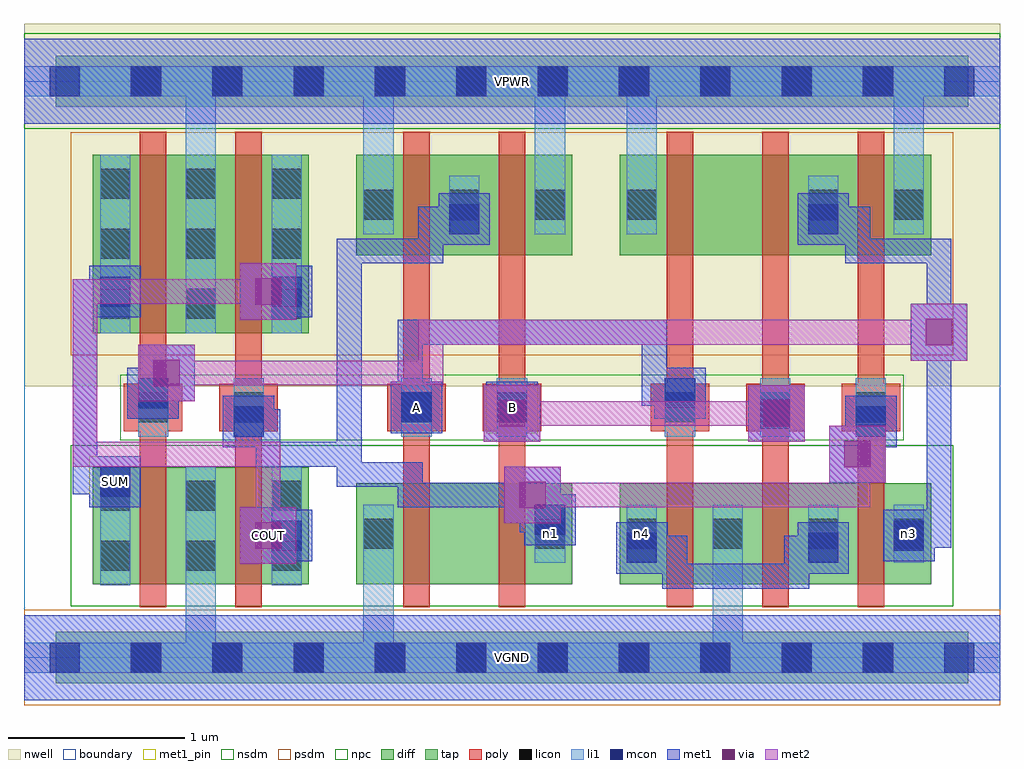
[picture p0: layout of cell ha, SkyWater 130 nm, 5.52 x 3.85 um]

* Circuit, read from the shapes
.subckt ha A B COUT SUM VGND VPWR n1 n3 n4
XM1 VGND n3 SUM VGND sky130_fd_pr__nfet_01v8 w=0.66 l=0.15
XM2 COUT n1 VGND VGND sky130_fd_pr__nfet_01v8 w=0.66 l=0.15
XM3 n2 A VGND VGND sky130_fd_pr__nfet_01v8 w=0.57 l=0.15
XM4 n1 B n2 VGND sky130_fd_pr__nfet_01v8 w=0.57 l=0.15
XM5 VGND A n4 VGND sky130_fd_pr__nfet_01v8 w=0.57 l=0.15
XM6 n4 B VGND VGND sky130_fd_pr__nfet_01v8 w=0.57 l=0.15
XM7 n3 n1 n4 VGND sky130_fd_pr__nfet_01v8 w=0.57 l=0.15
XM8 VPWR n3 SUM VPWR sky130_fd_pr__pfet_01v8 w=1.01 l=0.15
XM9 COUT n1 VPWR VPWR sky130_fd_pr__pfet_01v8 w=1.01 l=0.15
XM10 n1 A VPWR VPWR sky130_fd_pr__pfet_01v8 w=0.57 l=0.15
XM11 VPWR B n1 VPWR sky130_fd_pr__pfet_01v8 w=0.57 l=0.15
XM12 n5 A VPWR VPWR sky130_fd_pr__pfet_01v8 w=0.57 l=0.15
XM13 n3 B n5 VPWR sky130_fd_pr__pfet_01v8 w=0.57 l=0.15
XM14 VPWR n1 n3 VPWR sky130_fd_pr__pfet_01v8 w=0.57 l=0.15
.ends

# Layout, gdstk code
import gdstk
lib = gdstk.Library(unit=1e-6, precision=1e-09)
def R(c, l, rs):  # rectangles x0, y0, x1, y1
    for r in rs: c.add(gdstk.rectangle(r[:2], r[2:], *l))
def A(c, l, x, y, w, h, nx, ny, dx, dy):  # array of equal rectangles
    R(c, l, [(x+i*dx, y+j*dy, x+i*dx+w, y+j*dy+h) for i in range(nx) for j in range(ny)])
nwell = (64, 20)
diff = (65, 20)
tap = (65, 44)
poly = (66, 20)
licon = (66, 44)
li1 = (67, 20)
mcon = (67, 44)
met1_pin = (68, 16)
met1 = (68, 20)
via = (68, 44)
met2 = (69, 20)
nsdm = (93, 44)
psdm = (94, 20)
npc = (95, 20)
boundary = (235, 4)

c_ha = lib.new_cell('ha')
R(c_ha, nwell, [(0,1.535,5.52,3.585)])
R(c_ha, diff, [(0.39,0.415,1.61,1.075), (1.88,0.415,3.1,0.985), (3.37,0.415,5.13,0.985), (0.39,1.835,1.61,2.845), (1.88,2.275,3.1,2.845), (3.37,2.275,5.13,2.845)])
R(c_ha, tap, [(0.18,-0.145,5.34,0.145), (0.18,3.115,5.34,3.405)])
A(c_ha, poly, 3.635, 0.285, 0.15, 2.69, 3, 1, 0.54, 0)
A(c_ha, poly, 3.545, 1.28, 0.33, 0.27, 3, 1, 0.54, 0)
R(c_ha, poly, [(0.655,0.285,0.805,2.975), (1.195,0.285,1.345,2.975), (2.145,0.285,2.295,2.975), (2.685,0.285,2.835,2.975), (0.565,1.28,0.895,1.55), (1.105,1.28,1.435,1.55), (2.055,1.28,2.385,1.55), (2.595,1.28,2.925,1.55)])
A(c_ha, licon, 0.605, -0.085, 0.17, 0.17, 10, 2, 0.46, 3.26)
A(c_ha, licon, 0.43, 0.49, 0.17, 0.17, 3, 2, 0.485, 0.34)
A(c_ha, licon, 3.625, 1.33, 0.17, 0.17, 3, 1, 0.54, 0)
A(c_ha, licon, 0.43, 1.915, 0.17, 0.17, 3, 3, 0.485, 0.34)
A(c_ha, licon, 1.92, 2.475, 0.17, 0.17, 3, 1, 0.485, 0)
R(c_ha, licon, [(1.92,0.615,2.09,0.785), (2.89,0.615,3.06,0.785), (3.41,0.615,3.58,0.785), (3.895,0.615,4.065,0.785), (4.435,0.615,4.605,0.785), (4.92,0.615,5.09,0.785), (0.645,1.33,0.815,1.5), (1.185,1.33,1.355,1.5), (2.135,1.33,2.305,1.5), (2.675,1.33,2.845,1.5), (3.41,2.475,3.58,2.645), (4.435,2.475,4.605,2.645), (4.92,2.475,5.09,2.645)])
A(c_ha, li1, 0.43, 0.41, 0.17, 0.67, 3, 1, 0.485, 0)
A(c_ha, li1, 3.625, 1.25, 0.17, 0.33, 3, 1, 0.54, 0)
A(c_ha, li1, 0.43, 1.835, 0.17, 1.01, 3, 1, 0.485, 0)
A(c_ha, li1, 1.92, 2.395, 0.17, 0.33, 3, 1, 0.485, 0)
R(c_ha, li1, [(0,-0.085,5.52,0.085), (0.915,-0.085,1.085,1.08), (1.92,-0.085,2.09,0.865), (3.895,-0.085,4.065,0.865), (1.92,0.535,2.09,0.865), (2.89,0.535,3.06,0.865), (3.41,0.535,3.58,0.865), (3.895,0.535,4.065,0.865), (4.435,0.535,4.605,0.865), (4.92,0.535,5.09,0.865), (0.645,1.25,0.815,1.58), (1.185,1.25,1.355,1.58), (2.135,1.25,2.305,1.58), (2.675,1.25,2.845,1.58), (0.915,1.835,1.085,3.345), (1.92,2.395,2.09,3.345), (2.89,2.395,3.06,3.345), (3.41,2.395,3.58,2.725), (3.41,2.395,3.58,3.345), (4.435,2.395,4.605,2.725), (4.92,2.395,5.09,2.725), (4.92,2.395,5.09,3.345), (0,3.175,5.52,3.345)])
A(c_ha, mcon, 0.145, -0.085, 0.17, 0.17, 12, 2, 0.46, 3.26)
R(c_ha, mcon, [(3.41,0.535,3.58,0.705), (4.435,0.535,4.605,0.705), (1.4,0.605,1.57,0.775), (4.92,0.605,5.09,0.775), (2.89,0.695,3.06,0.865), (0.43,0.91,0.6,1.08), (1.185,1.25,1.355,1.42), (4.705,1.25,4.875,1.42), (4.165,1.295,4.335,1.465), (2.135,1.33,2.305,1.5), (2.675,1.33,2.845,1.5), (0.645,1.41,0.815,1.58), (3.625,1.41,3.795,1.58), (0.43,1.985,0.6,2.155), (1.4,1.985,1.57,2.155), (2.405,2.395,2.575,2.565), (4.435,2.395,4.605,2.565)])
R(c_ha, met1_pin, [(0,-0.24,5.52,0.24), (1.22,0.53,1.54,0.85), (0.37,0.85,0.66,1.14), (2.075,1.27,2.365,1.56), (2.615,1.27,2.905,1.56), (0,3.02,5.52,3.5)])
R(c_ha, met1, [(0,-0.24,5.52,0.24), (3.61,0.39,4.44,0.53), (3.61,0.39,3.75,0.69), (4.3,0.39,4.44,0.69), (3.35,0.475,3.64,0.765), (4.375,0.475,4.665,0.765), (1.22,0.53,1.54,0.85), (1.34,0.545,1.63,0.835), (4.86,0.545,5.15,0.835), (3.425,0.55,3.75,0.69), (4.3,0.55,4.59,0.69), (1.31,0.62,1.555,0.76), (4.935,0.62,5.245,0.76), (5.105,0.62,5.245,2.37), (2.83,0.635,3.12,0.925), (2.805,0.71,3.045,0.85), (2.805,0.71,2.945,0.99), (2.715,0.76,3.035,1.08), (0.37,0.85,0.66,1.14), (2.115,0.85,2.945,0.99), (2.115,0.85,2.255,1.105), (0.275,0.925,0.585,1.065), (0.275,0.925,0.415,1.22), (1.77,0.965,1.91,1.22), (1.77,0.965,2.255,1.105), (4.555,0.99,4.875,1.31), (0.275,1.08,0.415,2.14), (1.31,1.08,1.45,1.405), (1.31,1.08,1.91,1.22), (1.77,1.08,1.91,2.37), (4.645,1.08,4.785,1.405), (1.125,1.19,1.415,1.48), (4.645,1.19,4.935,1.48), (2.6,1.22,2.92,1.54), (4.095,1.22,4.415,1.54), (4.105,1.235,4.395,1.525), (1.2,1.265,1.45,1.405), (4.645,1.265,4.86,1.405), (2.075,1.27,2.365,1.56), (2.615,1.27,2.905,1.56), (2.115,1.31,2.255,1.45), (2.115,1.31,2.255,1.91), (2.69,1.31,2.83,1.45), (4.18,1.31,4.325,1.45), (0.585,1.35,0.875,1.64), (3.565,1.35,3.855,1.64), (0.66,1.425,0.875,1.565), (0.735,1.425,0.875,1.68), (3.495,1.425,3.635,1.68), (3.495,1.425,3.78,1.565), (0.645,1.45,0.965,1.77), (3.495,1.54,3.635,1.91), (5.015,1.68,5.335,2), (2.115,1.77,3.635,1.91), (1.22,1.91,1.54,2.23), (0.37,1.925,0.66,2.215), (1.34,1.925,1.63,2.215), (0.275,2,0.585,2.14), (1.31,2,1.555,2.14), (1.77,2.23,2.37,2.37), (2.23,2.23,2.37,2.55), (4.645,2.23,5.245,2.37), (4.645,2.23,4.785,2.55), (2.345,2.335,2.635,2.625), (4.375,2.335,4.665,2.625), (2.23,2.41,2.56,2.55), (4.45,2.41,4.785,2.55), (0,3.02,5.52,3.5)])
R(c_ha, via, [(1.305,0.615,1.455,0.765), (2.8,0.845,2.95,0.995), (4.64,1.075,4.79,1.225), (2.685,1.305,2.835,1.455), (4.18,1.305,4.33,1.455), (0.73,1.535,0.88,1.685), (5.1,1.765,5.25,1.915), (1.305,1.995,1.455,2.145)])
R(c_ha, met2, [(1.22,0.53,1.54,0.85), (1.31,0.62,1.45,1.22), (2.715,0.76,3.035,1.08), (2.805,0.85,4.785,0.99), (4.645,0.85,4.785,1.22), (4.555,0.99,4.875,1.31), (0.275,1.08,1.45,1.22), (0.275,1.08,0.415,2.14), (2.6,1.22,2.92,1.54), (4.095,1.22,4.415,1.54), (2.69,1.31,4.325,1.45), (0.645,1.45,0.965,1.77), (0.735,1.54,2.37,1.68), (2.23,1.54,2.37,1.91), (5.015,1.68,5.335,2), (2.23,1.77,5.245,1.91), (1.22,1.91,1.54,2.23), (0.275,2,1.45,2.14)])
R(c_ha, nsdm, [(0.265,0.29,5.255,1.2), (0,2.99,5.52,3.53)])
R(c_ha, psdm, [(0,-0.27,5.52,0.27), (0.265,1.71,5.255,2.97)])
R(c_ha, npc, [(0.545,1.23,4.975,1.6)])
R(c_ha, boundary, [(0,0,5.52,3.26)])
c_ha.add(gdstk.Label('n1', (2.975,0.7), layer=67, texttype=5))
c_ha.add(gdstk.Label('n4', (3.495,0.7), layer=67, texttype=5))
c_ha.add(gdstk.Label('n3', (5.005,0.7), layer=67, texttype=5))
c_ha.add(gdstk.Label('A', (2.22,1.415), layer=68, texttype=5))
c_ha.add(gdstk.Label('B', (2.76,1.415), layer=68, texttype=5))
c_ha.add(gdstk.Label('SUM', (0.515,0.995), layer=68, texttype=5))
c_ha.add(gdstk.Label('COUT', (1.38,0.69), layer=68, texttype=5))
c_ha.add(gdstk.Label('VPWR', (2.76,3.26), layer=68, texttype=5))
c_ha.add(gdstk.Label('VGND', (2.76,0), layer=68, texttype=5))
c_ha.add(gdstk.Label('A', (2.22,1.415), layer=68, texttype=16))
c_ha.add(gdstk.Label('B', (2.76,1.415), layer=68, texttype=16))
c_ha.add(gdstk.Label('SUM', (0.515,0.995), layer=68, texttype=16))
c_ha.add(gdstk.Label('COUT', (1.38,0.69), layer=68, texttype=16))
c_ha.add(gdstk.Label('VPWR', (2.76,3.26), layer=68, texttype=16))
c_ha.add(gdstk.Label('VGND', (2.76,0), layer=68, texttype=16))

lib.write_gds('ha.gds')
